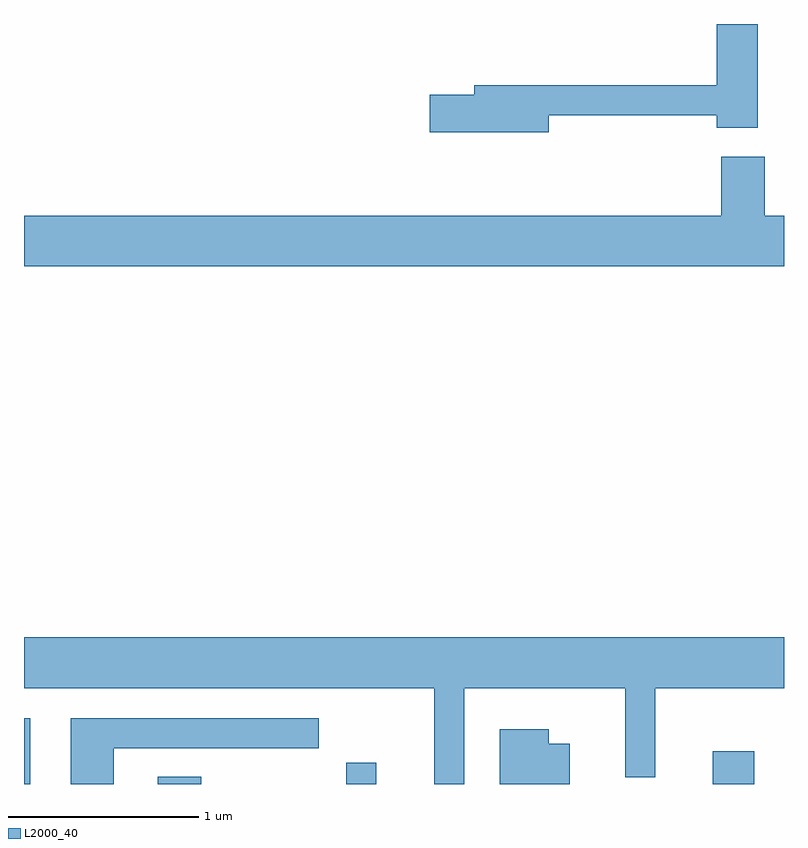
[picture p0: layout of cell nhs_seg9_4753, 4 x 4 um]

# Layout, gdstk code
import gdstk
lib = gdstk.Library(unit=1e-6, precision=1e-09)
def R(c, l, rs):  # rectangles x0, y0, x1, y1
    for r in rs: c.add(gdstk.rectangle(r[:2], r[2:], *l))
def P(c, l, *ps):  # polygons
    for p in ps: c.add(gdstk.Polygon(p, *l))
L2000_40 = (2000, 40)

nhs_seg9_4753 = lib.new_cell('nhs_seg9_4753')
R(nhs_seg9_4753, L2000_40, [(325.611,1982.432,325.644,1982.779), (326.316,1982.432,326.544,1982.469), (327.306,1982.432,327.464,1982.543), (329.236,1982.432,329.454,1982.604)])
P(nhs_seg9_4753, L2000_40, [(328.374,1985.951),(329.256,1985.951),(329.256,1985.886),(329.474,1985.886),(329.474,1986.432),(329.256,1986.432),(329.256,1986.109),(327.981,1986.109),(327.981,1986.059),(327.746,1986.059),(327.746,1985.861),(328.374,1985.861)],
  [(329.611,1985.424),(329.509,1985.424),(329.509,1985.734),(329.281,1985.734),(329.281,1985.424),(325.611,1985.424),(325.611,1985.156),(329.611,1985.156)],
  [(327.929,1982.936),(328.776,1982.936),(328.776,1982.468),(328.934,1982.468),(328.934,1982.936),(329.611,1982.936),(329.611,1983.204),(325.611,1983.204),(325.611,1982.936),(327.771,1982.936),(327.771,1982.432),(327.929,1982.432)],
  [(326.084,1982.621),(327.163,1982.621),(327.163,1982.779),(325.856,1982.779),(325.856,1982.432),(326.084,1982.432)],
  [(328.484,1982.644),(328.374,1982.644),(328.374,1982.719),(328.116,1982.719),(328.116,1982.432),(328.484,1982.432)])

lib.write_gds('nhs_seg9_4753.gds')
